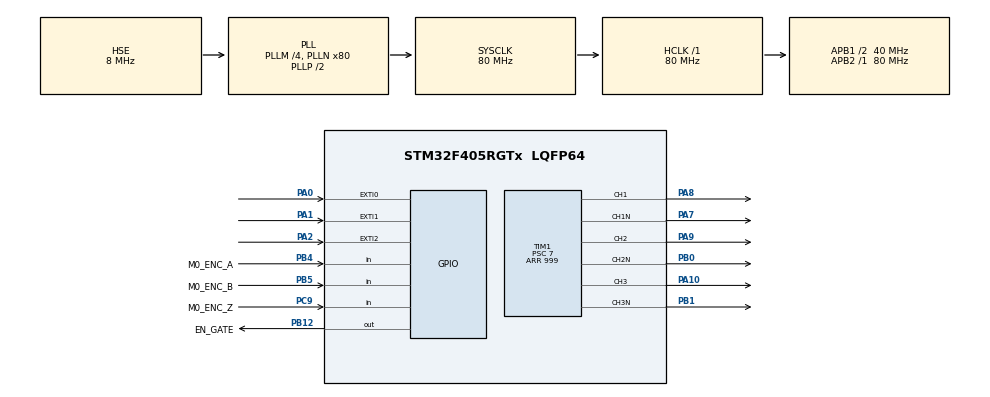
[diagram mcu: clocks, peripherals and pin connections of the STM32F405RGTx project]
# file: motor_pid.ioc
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Mcu.Family=STM32F4
Mcu.Name=STM32F405RGTx
Mcu.Package=LQFP64
NVIC.EXTI0_IRQn=true\:0\:0\:false\:false\:true\:true\:true\:true
NVIC.EXTI1_IRQn=true\:0\:0\:false\:false\:true\:true\:true\:true
NVIC.EXTI2_IRQn=true\:0\:0\:false\:false\:true\:true\:true\:true
NVIC.PriorityGroup=NVIC_PRIORITYGROUP_4
PA0-WKUP.GPIO_ModeDefaultEXTI=GPIO_MODE_IT_RISING_FALLING
PA0-WKUP.GPIO_PuPd=GPIO_PULLUP
PA0-WKUP.Signal=GPXTI0
PA1.GPIO_ModeDefaultEXTI=GPIO_MODE_IT_RISING_FALLING
PA1.GPIO_PuPd=GPIO_PULLUP
PA1.Signal=GPXTI1
PA10.Signal=S_TIM1_CH3
PA13.Mode=Serial_Wire
PA13.Signal=SYS_JTMS-SWDIO
PA14.Mode=Serial_Wire
PA14.Signal=SYS_JTCK-SWCLK
PA2.GPIO_ModeDefaultEXTI=GPIO_MODE_IT_RISING_FALLING
PA2.GPIO_PuPd=GPIO_PULLUP
PA2.Signal=GPXTI2
PA7.Mode=PWM Generation1 CH1 CH1N
PA7.Signal=TIM1_CH1N
PA8.Signal=S_TIM1_CH1
PA9.Signal=S_TIM1_CH2
PB0.Mode=PWM Generation2 CH2 CH2N
PB0.Signal=TIM1_CH2N
PB1.Mode=PWM Generation3 CH3 CH3N
PB1.Signal=TIM1_CH3N
PB12.GPIO_Label=EN_GATE
PB12.GPIO_Speed=GPIO_SPEED_FREQ_MEDIUM
PB12.PinState=GPIO_PIN_SET
PB12.Signal=GPIO_Output
PB4.GPIO_Label=M0_ENC_A
PB4.Signal=GPIO_Input
PB5.GPIO_Label=M0_ENC_B
PB5.Signal=GPIO_Input
PC9.GPIO_Label=M0_ENC_Z
PC9.Signal=GPIO_Input
PH0-OSC_IN.Mode=HSE-External-Oscillator
PH0-OSC_IN.Signal=RCC_OSC_IN
PH1-OSC_OUT.Mode=HSE-External-Oscillator
PH1-OSC_OUT.Signal=RCC_OSC_OUT
ProjectManager.HeapSize=0x200
ProjectManager.StackSize=0x400
ProjectManager.TargetToolchain=STM32CubeIDE
RCC.48MHZClocksFreq_Value=40000000
RCC.AHBFreq_Value=80000000
RCC.APB1CLKDivider=RCC_HCLK_DIV2
RCC.APB1Freq_Value=40000000
RCC.APB1TimFreq_Value=80000000
RCC.APB2Freq_Value=80000000
RCC.APB2TimFreq_Value=80000000
RCC.CortexFreq_Value=80000000
RCC.HCLKFreq_Value=80000000
RCC.HSE_VALUE=8000000
RCC.HSI_VALUE=16000000
RCC.LSE_VALUE=32768
RCC.PLLM=4
RCC.PLLN=80
RCC.PLLSourceVirtual=RCC_PLLSOURCE_HSE
RCC.SYSCLKFreq_VALUE=80000000
RCC.SYSCLKSource=RCC_SYSCLKSOURCE_PLLCLK
RCC.VCOOutputFreq_Value=160000000
SH.S_TIM1_CH1.0=TIM1_CH1,PWM Generation1 CH1 CH1N
SH.S_TIM1_CH2.0=TIM1_CH2,PWM Generation2 CH2 CH2N
SH.S_TIM1_CH3.0=TIM1_CH3,PWM Generation3 CH3 CH3N
TIM1.Channel-PWM\ Generation1\ CH1\ CH1N=TIM_CHANNEL_1
TIM1.Channel-PWM\ Generation2\ CH2\ CH2N=TIM_CHANNEL_2
TIM1.Channel-PWM\ Generation3\ CH3\ CH3N=TIM_CHANNEL_3
TIM1.DeadTime=40
TIM1.Period=999
TIM1.Prescaler=7
board=custom

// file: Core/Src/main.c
/* USER CODE BEGIN Header */
/**
  ******************************************************************************
  * @file           : main.c
  * @brief          : JAN-KAI Motor Training Kit - Experiment 01
  *                   Open-loop six-step BLDC commutation using TIM1 and Hall sensors
  ******************************************************************************
  */
/* USER CODE END Header */
#include "main.h"
#include "tim.h"
#include "gpio.h"

/* USER CODE BEGIN Includes */
#include <stdint.h>
#include <math.h>
/* USER CODE END Includes */

/* USER CODE BEGIN PTD */
typedef struct
{
    int8_t U;
    int8_t V;
    int8_t W;
} Step; /* 1 = PWM high-side, 0 = low-side ON, -1 = phase OFF */
/* USER CODE END PTD */

/* USER CODE BEGIN PD */
#define DUTY_INIT_PCT     30UL

/* Closed-loop speed PI controller */
#define KP                0.05f
#define KI                0.008f
#define SPEED_REF_RPM     1500.0f
#define CTRL_MS           10U
#define POLE_PAIRS_F      4.0f
#define HALL_EDGES_REV    6.0f
#define HALL_TIMEOUT_MS   250U

/* Clock (CubeMX): HSE 8 MHz -> PLL M4 N80 P2 -> SYSCLK 80 MHz, APB2 /1,
 * so TIM1CLK = 80 MHz on STM32F405RG.
 * TIM1 (CubeMX): PSC 7, ARR 999 -> 10 kHz PWM; DeadTime 40 ticks -> 500 ns.
 * The code reads ARR and SystemCoreClock at run time, so a clock change in
 * CubeMX needs no edit here.
 */
/* USER CODE END PD */

/* USER CODE BEGIN PV */
static volatile uint32_t g_cmp = 0U;
static volatile uint8_t g_last_hall = 0xFFU;
static float g_integral = 0.0f;
static float g_duty = 0.30f;
static volatile uint32_t g_hall_us = 0U;
static volatile uint32_t g_last_cyc = 0U;
static volatile uint32_t g_last_hall_tick = 0U;
static uint32_t g_cycles_per_us = 0U;
/* USER CODE END PV */

void SystemClock_Config(void);
/* USER CODE BEGIN PFP */
static void Apply(uint8_t hall);
static uint8_t ReadHall(void);
static void SetPhase(uint32_t channel, int8_t state);
static void MotorOutputsDisable(void);
static float Speed_RPM(void);
static float PI_Run(float ref, float meas, float ts);
/* USER CODE END PFP */

/* USER CODE BEGIN 0 */

/* Six-step commutation table indexed by Hall state [HC HB HA] represented
 * as bit 2 = PA2, bit 1 = PA1, bit 0 = PA0.
 * Verify the phase sequence against the specific motor and Hall wiring
 * before applying power. The supplied table is preserved from the request.
 */
static const Step TAB[8] = {
    { 0,  0,  0}, /* 000: invalid Hall state */
    { 1,  0, -1}, /* 001 */
    {-1,  1,  0}, /* 010 */
    { 0,  1, -1}, /* 011 */
    { 0, -1,  1}, /* 100 */
    { 1, -1,  0}, /* 101 */
    {-1,  0,  1}, /* 110 */
    { 0,  0,  0}  /* 111: invalid Hall state */
};

static void MotorOutputsDisable(void)
{
    /* Disable all six timer outputs before changing the phase pattern. */
    CLEAR_BIT(TIM1->CCER, TIM_CCER_CC1E | TIM_CCER_CC1NE |
                          TIM_CCER_CC2E | TIM_CCER_CC2NE |
                          TIM_CCER_CC3E | TIM_CCER_CC3NE);
}

static void SetPhase(uint32_t channel, int8_t state)
{
    uint32_t main_enable = 0U;
    uint32_t comp_enable = 0U;
    uint32_t ccr_value = 0U;

    switch (channel)
    {
        case TIM_CHANNEL_1:
            main_enable = TIM_CCER_CC1E;
            comp_enable = TIM_CCER_CC1NE;
            break;
        case TIM_CHANNEL_2:
            main_enable = TIM_CCER_CC2E;
            comp_enable = TIM_CCER_CC2NE;
            break;
        case TIM_CHANNEL_3:
            main_enable = TIM_CCER_CC3E;
            comp_enable = TIM_CCER_CC3NE;
            break;
        default:
            return;
    }

    /* Both outputs for this phase remain disabled unless selected below. */
    CLEAR_BIT(TIM1->CCER, main_enable | comp_enable);

    if (state == 1)
    {
        ccr_value = g_cmp;
        if (channel == TIM_CHANNEL_1) __HAL_TIM_SET_COMPARE(&htim1, TIM_CHANNEL_1, ccr_value);
        if (channel == TIM_CHANNEL_2) __HAL_TIM_SET_COMPARE(&htim1, TIM_CHANNEL_2, ccr_value);
        if (channel == TIM_CHANNEL_3) __HAL_TIM_SET_COMPARE(&htim1, TIM_CHANNEL_3, ccr_value);
        SET_BIT(TIM1->CCER, main_enable); /* PWM high-side output */
    }
    else if (state == 0)
    {
        /* CCR=0 makes OCREF inactive in PWM mode 1; the complementary
         * output is used as the low-side static output. */
        if (channel == TIM_CHANNEL_1) __HAL_TIM_SET_COMPARE(&htim1, TIM_CHANNEL_1, 0U);
        if (channel == TIM_CHANNEL_2) __HAL_TIM_SET_COMPARE(&htim1, TIM_CHANNEL_2, 0U);
        if (channel == TIM_CHANNEL_3) __HAL_TIM_SET_COMPARE(&htim1, TIM_CHANNEL_3, 0U);
        SET_BIT(TIM1->CCER, comp_enable);
    }
    /* state == -1: leave both outputs disabled (phase floating). */
}

static void Apply(uint8_t hall)
{
    if ((hall == 0U) || (hall == 7U))
    {
        MotorOutputsDisable();
        g_last_hall = hall;
        return;
    }

    /* Disable all outputs while changing commutation states. For real power
     * hardware, confirm gate-driver interlocking and switching dead-time on
     * the oscilloscope before enabling the DC bus. */
    MotorOutputsDisable();

    SetPhase(TIM_CHANNEL_1, TAB[hall].U);
    SetPhase(TIM_CHANNEL_2, TAB[hall].V);
    SetPhase(TIM_CHANNEL_3, TAB[hall].W);

    g_last_hall = hall;
}

static uint8_t ReadHall(void)
{
    uint8_t hall = 0U;

    if (HAL_GPIO_ReadPin(GPIOA, GPIO_PIN_0) == GPIO_PIN_SET) hall |= 0x01U;
    if (HAL_GPIO_ReadPin(GPIOA, GPIO_PIN_1) == GPIO_PIN_SET) hall |= 0x02U;
    if (HAL_GPIO_ReadPin(GPIOA, GPIO_PIN_2) == GPIO_PIN_SET) hall |= 0x04U;

    return hall;
}

static float Speed_RPM(void)
{
    uint32_t interval_us;
    uint32_t last_tick;

    /* Copy volatile values once so the calculation uses a consistent snapshot. */
    interval_us = g_hall_us;
    last_tick = g_last_hall_tick;

    if ((interval_us == 0U) || ((HAL_GetTick() - last_tick) > HALL_TIMEOUT_MS))
    {
        return 0.0f;
    }

    /* Six Hall edges per electrical revolution, POLE_PAIRS_F per mechanical rev. */
    {
        float f_elec = 1000000.0f / ((float)interval_us * HALL_EDGES_REV);
        return (f_elec / POLE_PAIRS_F) * 60.0f;
    }
}

static float PI_Run(float ref, float meas, float ts)
{
    float err = ref - meas;
    float out;

    g_integral += KI * err * ts;
    if (g_integral > 1.0f)  g_integral = 1.0f;
    if (g_integral < -0.1f) g_integral = -0.1f;

    out = KP * err + g_integral;
    if (out > 1.0f) out = 1.0f;
    if (out < 0.0f) out = 0.0f;
    return out;
}

void HAL_GPIO_EXTI_Callback(uint16_t GPIO_Pin)
{
    if ((GPIO_Pin == GPIO_PIN_0) ||
        (GPIO_Pin == GPIO_PIN_1) ||
        (GPIO_Pin == GPIO_PIN_2))
    {
        uint32_t now_cyc = DWT->CYCCNT;
        uint32_t now_tick = HAL_GetTick();

        if (g_last_cyc != 0U)
        {
            uint32_t elapsed_cycles = now_cyc - g_last_cyc; /* wrap-safe */
            if (g_cycles_per_us != 0U)
            {
                g_hall_us = elapsed_cycles / g_cycles_per_us;
            }
        }

        g_last_cyc = now_cyc;
        g_last_hall_tick = now_tick;
        Apply(ReadHall());
    }
}

/* USER CODE END 0 */

int main(void)
{

  /* MCU Configuration--------------------------------------------------------*/

  /* Reset of all peripherals, Initializes the Flash interface and the Systick. */
  HAL_Init();

  /* Configure the system clock */
  SystemClock_Config();

  /* Initialize all configured peripherals */
  MX_GPIO_Init();
  MX_TIM1_Init();
  /* USER CODE BEGIN 2 */
    /* DWT cycle counter times the Hall edges; it is off after reset. */
    CoreDebug->DEMCR |= CoreDebug_DEMCR_TRCENA_Msk;
    DWT->CYCCNT = 0U;
    DWT->CTRL |= DWT_CTRL_CYCCNTENA_Msk;
    g_cycles_per_us = SystemCoreClock / 1000000UL;

    g_cmp = (TIM1->ARR * DUTY_INIT_PCT) / 100UL;

    /* Start timer channels; individual output enables are controlled by Apply(). */
    if (HAL_TIM_PWM_Start(&htim1, TIM_CHANNEL_1) != HAL_OK) Error_Handler();
    if (HAL_TIMEx_PWMN_Start(&htim1, TIM_CHANNEL_1) != HAL_OK) Error_Handler();
    if (HAL_TIM_PWM_Start(&htim1, TIM_CHANNEL_2) != HAL_OK) Error_Handler();
    if (HAL_TIMEx_PWMN_Start(&htim1, TIM_CHANNEL_2) != HAL_OK) Error_Handler();
    if (HAL_TIM_PWM_Start(&htim1, TIM_CHANNEL_3) != HAL_OK) Error_Handler();
    if (HAL_TIMEx_PWMN_Start(&htim1, TIM_CHANNEL_3) != HAL_OK) Error_Handler();

    __HAL_TIM_MOE_ENABLE(&htim1);
    Apply(ReadHall());
    g_last_hall_tick = HAL_GetTick();
  /* USER CODE END 2 */

  /* Infinite loop */
  /* USER CODE BEGIN WHILE */
    uint32_t t_last = HAL_GetTick();
    while (1)
    {
        uint32_t now = HAL_GetTick();
        if ((now - t_last) >= CTRL_MS)
        {
            float dt = (float)(now - t_last) / 1000.0f;
            float speed_rpm;
            t_last = now;

            speed_rpm = Speed_RPM();
            g_duty = PI_Run(SPEED_REF_RPM, speed_rpm, dt);

            if (g_duty > 1.0f) g_duty = 1.0f;
            if (g_duty < 0.0f) g_duty = 0.0f;
            g_cmp = (uint32_t)((float)TIM1->ARR * g_duty);
            if (g_cmp > TIM1->ARR) g_cmp = TIM1->ARR;
        }
    /* USER CODE END WHILE */

    }
}

void SystemClock_Config(void)
{
  RCC_OscInitTypeDef RCC_OscInitStruct = {0};
  RCC_ClkInitTypeDef RCC_ClkInitStruct = {0};

  /** Configure the main internal regulator output voltage
  */
  __HAL_RCC_PWR_CLK_ENABLE();
  __HAL_PWR_VOLTAGESCALING_CONFIG(PWR_REGULATOR_VOLTAGE_SCALE1);

  /** Initializes the RCC Oscillators according to the specified parameters
  * in the RCC_OscInitTypeDef structure.
  */
  RCC_OscInitStruct.OscillatorType = RCC_OSCILLATORTYPE_HSE;
  RCC_OscInitStruct.HSEState = RCC_HSE_ON;
  RCC_OscInitStruct.PLL.PLLState = RCC_PLL_ON;
  RCC_OscInitStruct.PLL.PLLSource = RCC_PLLSOURCE_HSE;
  RCC_OscInitStruct.PLL.PLLM = 4;
  RCC_OscInitStruct.PLL.PLLN = 80;
  RCC_OscInitStruct.PLL.PLLP = RCC_PLLP_DIV2;
  RCC_OscInitStruct.PLL.PLLQ = 4;
  if (HAL_RCC_OscConfig(&RCC_OscInitStruct) != HAL_OK)
  {
    Error_Handler();
  }

  /** Initializes the CPU, AHB and APB buses clocks
  */
  RCC_ClkInitStruct.ClockType = RCC_CLOCKTYPE_HCLK|RCC_CLOCKTYPE_SYSCLK
                              |RCC_CLOCKTYPE_PCLK1|RCC_CLOCKTYPE_PCLK2;
  RCC_ClkInitStruct.SYSCLKSource = RCC_SYSCLKSOURCE_PLLCLK;
  RCC_ClkInitStruct.AHBCLKDivider = RCC_SYSCLK_DIV1;
  RCC_ClkInitStruct.APB1CLKDivider = RCC_HCLK_DIV2;
  RCC_ClkInitStruct.APB2CLKDivider = RCC_HCLK_DIV1;

  if (HAL_RCC_ClockConfig(&RCC_ClkInitStruct, FLASH_LATENCY_2) != HAL_OK)
  {
    Error_Handler();
  }
}

void Error_Handler(void)
{
  __disable_irq();
  while (1)
  {
  }
}
